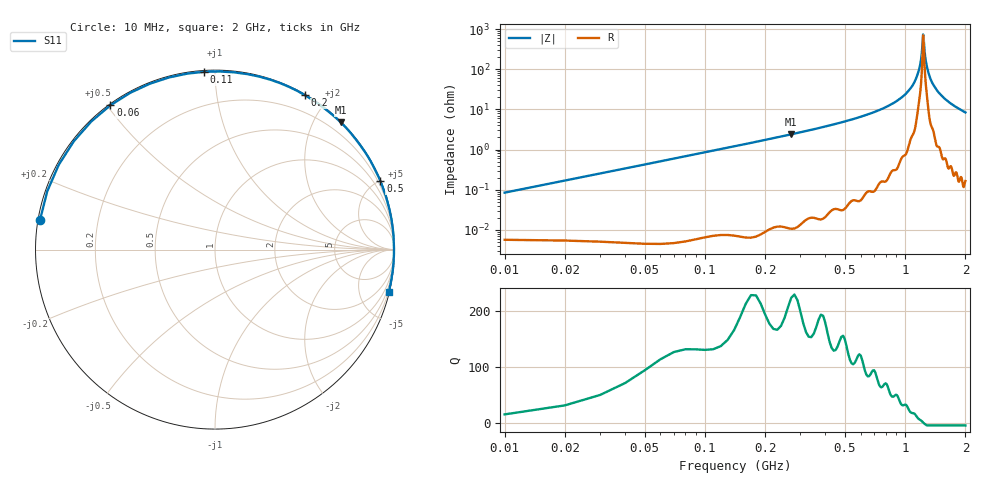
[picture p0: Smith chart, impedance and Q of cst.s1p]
! H_s8_cap_2: PDN loop: BGA pin field to a 0402 capacitor 2 mm away
! stackup: 8-layer 1.6 mm FR-4 (generic)
! ports: 1 IC pins
! CST Studio Suite 2025.5 Release from 2025-05-30, time domain (FIT, hexahedral, PBA), 227664 mesh cells, 176 s
! mesh: {'lpw': 20, 'lpb': 20, 'minstep': 0.0, 'ratio': 20}; ports: port 1 (edge)
! interpolated from CST's 1001 samples to the case grid
# Hz S RI R 1
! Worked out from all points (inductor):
!   200 points, 10 MHz to 2 GHz, reference 1 ohm
!   read as one part to ground: L = 1.35 nH near 20 MHz
!   highest Q = 220 at 270 MHz (marker M1), where L = 1.41 nH
!   self-resonance near 1.23 GHz
!   S11 on the Smith chart (normalised r, x): 10 MHz: 0.01, +0.08; 60 MHz: 0.00, +0.51; 110 MHz: 0.01, +0.94; 200 MHz: 0.01, +1.74; 500 MHz: 0.03, +5.02; 2 GHz: 0.16, -8.40
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1e7  -0.9748 0.1659
2e7  -0.9345 0.3253
3e7  -0.8705 0.4725
4e7  -0.7871 0.603
5e7  -0.6894 0.7138
6e7  -0.5828 0.8039
7e7  -0.4723 0.8736
8e7  -0.3622 0.9246
9e7  -0.2557 0.9592
1.1e8  -0.0606 0.9906
1.3e8  0.1066 0.9876
1.5e8  0.2474 0.9637
1.7e8  0.3647 0.9268
2e8  0.5017 0.8599
2.3e8  0.6023 0.7923
2.6e8  0.6795 0.7289
2.7e8  0.7012 0.7085
3.1e8  0.7707 0.6317
3.7e8  0.8405 0.5365
5e8  0.9213 0.3822
5.1e8  0.9251 0.3724
6.3e8  0.9584 0.2751
7.6e8  0.9776 0.1952
1.01e9  0.9943 0.0804
1.26e9  0.9968 -0.00928
1.51e9  0.993 -0.0866
1.76e9  0.9838 -0.1619
2e9  0.9676 -0.2337
